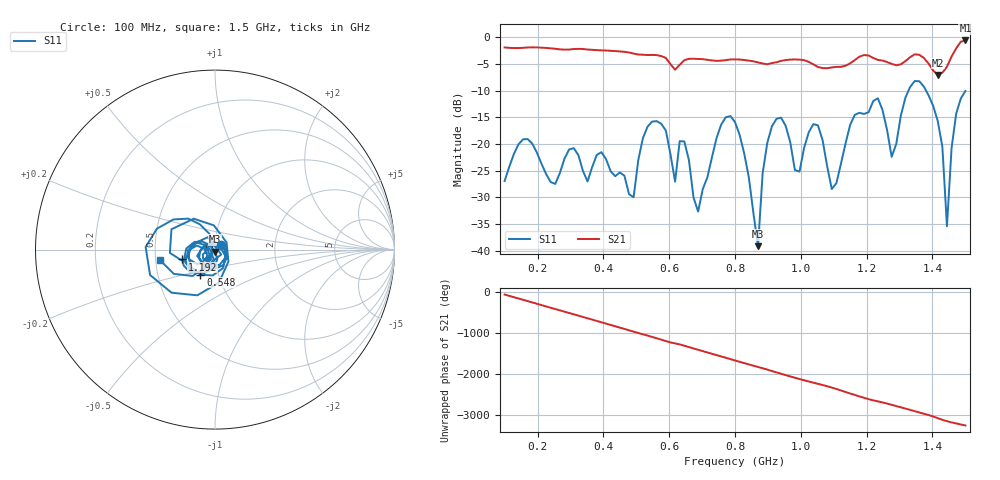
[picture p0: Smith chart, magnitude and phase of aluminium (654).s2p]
! NanoVNA-App
! Date: 2025-09-25 15:00:22
! Start: 100MHz Stop: 1,5GHz Points: 101
! S-Parameter data: F S11 S21 S12 S22
# Hz S RI R 50
!  Frequency  S11_Real  S11_Imag  S21_Real  S21_Imag  S12_Real  S12_Imag  S22_Real  S22_Imag
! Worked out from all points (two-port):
!   101 points, 100 MHz to 1.5 GHz, reference 50 ohm
!   highest |S21| = -0.61 dB at 1.5 GHz (marker M1); lowest = -7.1 dB at 1.416 GHz (marker M2)
!   |S21| within 3 dB of the highest: start of sweep to 578.9 MHz; 1.458 GHz to end of sweep (the widest 2 of 4)
!   lowest |S11| = -39.2 dB at 870 MHz (marker M3), VSWR 1.02, Z = 50.2 - j1.09 ohm
!   |S11| at or under -10 dB: start of sweep to 1.327 GHz; 1.38 GHz to end of sweep
!   S12 and S22 are empty: the file has one direction only
!   S11 on the Smith chart (normalised r, x): 100 MHz: 1.07, +0.06; 548 MHz: 0.82, -0.23; 1.192 GHz: 0.69, -0.08; 1.5 GHz: 0.53, -0.07
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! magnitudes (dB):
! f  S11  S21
! 100 MHz  -27.0  -1.9
! 156 MHz  -19.1  -2.0
! 338 MHz  -25.1  -2.2
! 492 MHz  -30.0  -3.1
! 548 MHz  -15.8  -3.3
! 576 MHz  -16.2  -3.5
! 618 MHz  -27.1  -6.1
! 646 MHz  -19.5  -4.3
! 688 MHz  -32.7  -4.1
! 800 MHz  -15.9  -4.1
! 870 MHz  -39.2  -4.7
! 912 MHz  -16.7  -4.8
! 996 MHz  -25.2  -4.2
! 1.038 GHz  -16.3  -5.1
! 1.094 GHz  -28.5  -5.7
! 1.192 GHz  -14.4  -3.3
! 1.276 GHz  -22.4  -5.0
! 1.346 GHz  -8.2  -3.2
! 1.416 GHz  -15.7  -7.1
! 1.444 GHz  -35.4  -5.5
! 1.472 GHz  -14.3  -2.1
! 1.5 GHz  -10.1  -0.6
